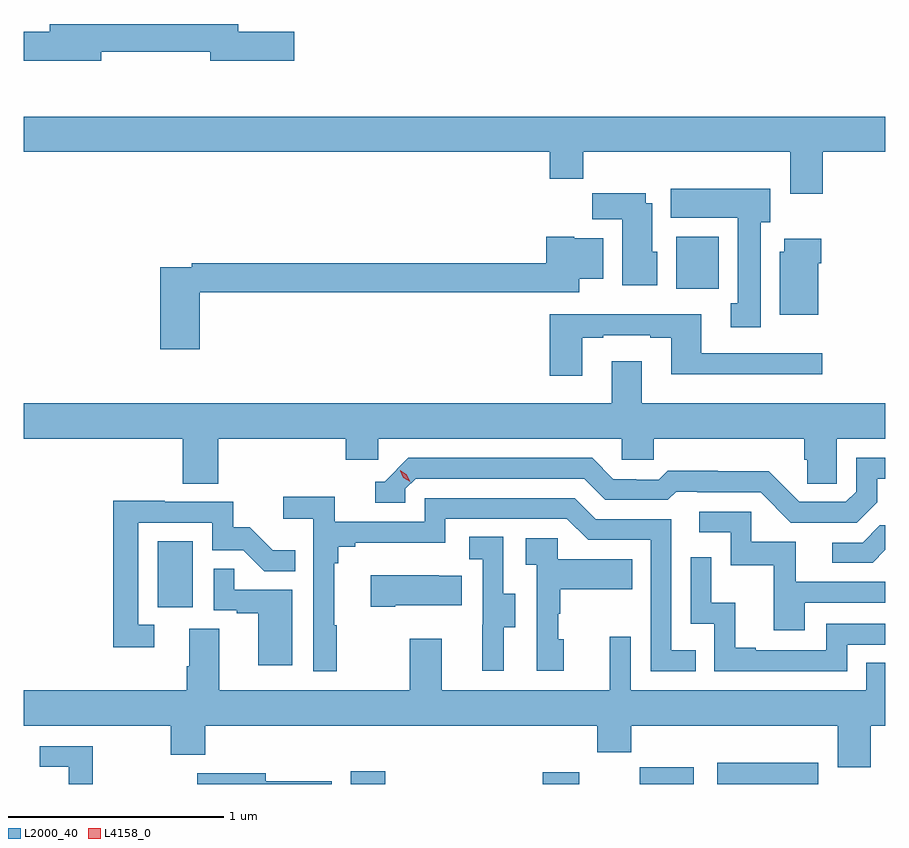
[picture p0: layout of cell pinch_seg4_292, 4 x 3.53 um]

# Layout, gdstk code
import gdstk
lib = gdstk.Library(unit=1e-6, precision=1e-09)
def R(c, l, rs):  # rectangles x0, y0, x1, y1
    for r in rs: c.add(gdstk.rectangle(r[:2], r[2:], *l))
def P(c, l, *ps):  # polygons
    for p in ps: c.add(gdstk.Polygon(p, *l))
L2000_40 = (2000, 40)
L4158_0 = (4158, 0)

pinch_seg4_292 = lib.new_cell('pinch_seg4_292')
R(pinch_seg4_292, L2000_40, [(925.457,797.881,925.618,797.941), (926.348,797.881,926.518,797.935), (926.8,797.881,927.049,797.959), (927.159,797.881,927.628,797.98), (924.56,798.702,924.724,799.009), (926.969,800.18,927.166,800.422)])
P(pinch_seg4_292, L2000_40, [(924.298,801.282),(924.806,801.282),(924.806,801.239),(925.195,801.239),(925.195,801.374),(924.934,801.374),(924.934,801.41),(924.059,801.41),(924.059,801.374),(923.939,801.374),(923.939,801.239),(924.298,801.239)],
  [(927.65,800.816),(927.939,800.816),(927.939,800.98),(923.939,800.98),(923.939,800.816),(926.381,800.816),(926.381,800.692),(926.537,800.692),(926.537,800.816),(927.497,800.816),(927.497,800.622),(927.65,800.622)],
  [(927.361,800.49),(927.406,800.49),(927.406,800.644),(926.942,800.644),(926.942,800.51),(927.254,800.51),(927.254,800.114),(927.221,800.114),(927.221,800.001),(927.361,800.001)],
  [(926.881,800.352),(926.857,800.352),(926.857,800.578),(926.827,800.578),(926.827,800.623),(926.578,800.623),(926.578,800.504),(926.717,800.504),(926.717,800.198),(926.881,800.198)],
  [(924.755,800.164),(926.518,800.164),(926.518,800.228),(926.629,800.228),(926.629,800.416),(926.496,800.416),(926.496,800.422),(926.366,800.422),(926.366,800.3),(924.718,800.3),(924.718,800.28),(924.572,800.28),(924.572,799.899),(924.755,799.899)],
  [(927.628,800.3),(927.641,800.3),(927.641,800.413),(927.47,800.413),(927.47,800.352),(927.449,800.352),(927.449,800.06),(927.628,800.06)],
  [(926.533,799.953),(926.629,799.953),(926.629,799.965),(926.849,799.965),(926.849,799.953),(926.945,799.953),(926.945,799.784),(927.646,799.784),(927.646,799.881),(927.085,799.881),(927.085,800.062),(926.381,800.062),(926.381,799.776),(926.533,799.776)],
  [(926.809,799.843),(926.669,799.843),(926.669,799.648),(923.939,799.648),(923.939,799.484),(924.677,799.484),(924.677,799.276),(924.842,799.276),(924.842,799.484),(925.433,799.484),(925.433,799.386),(925.584,799.386),(925.584,799.484),(926.715,799.484),(926.715,799.386),(926.865,799.386),(926.865,799.484),(927.563,799.484),(927.563,799.386),(927.577,799.386),(927.577,799.276),(927.714,799.276),(927.714,799.484),(927.939,799.484),(927.939,799.648),(926.809,799.648)],
  [(927.901,799.189),(927.901,799.299),(927.939,799.299),(927.939,799.395),(927.804,799.395),(927.804,799.239),(927.756,799.191),(927.54,799.191),(927.398,799.333),(927.162,799.333),(927.162,799.336),(926.929,799.336),(926.887,799.293),(926.784,799.293),(926.784,799.296),(926.677,799.296),(926.578,799.395),(925.725,799.395),(925.614,799.284),(925.571,799.284),(925.571,799.188),(925.71,799.188),(925.71,799.251),(925.758,799.299),(926.541,799.299),(926.64,799.2),(926.929,799.2),(926.968,799.239),(927.067,799.239),(927.067,799.236),(927.36,799.236),(927.501,799.095),(927.807,799.095)],
  [(925.393,798.617),(925.381,798.617),(925.381,798.905),(925.4,798.905),(925.4,798.982),(925.477,798.982),(925.477,799.001),(925.896,799.001),(925.896,799.113),(926.46,799.113),(926.559,799.014),(926.85,799.014),(926.85,798.405),(927.059,798.405),(927.059,798.501),(926.946,798.501),(926.946,799.11),(926.596,799.11),(926.497,799.209),(925.8,799.209),(925.8,799.098),(925.382,799.098),(925.382,799.214),(925.143,799.214),(925.143,799.112),(925.284,799.112),(925.284,798.405),(925.393,798.405)],
  [(924.544,798.621),(924.471,798.621),(924.471,799.095),(924.813,799.095),(924.813,798.966),(924.957,798.966),(925.055,798.868),(925.199,798.868),(925.199,798.967),(925.095,798.967),(924.988,799.074),(924.912,799.074),(924.912,799.191),(924.593,799.191),(924.593,799.196),(924.355,799.196),(924.355,798.516),(924.544,798.516)],
  [(927.565,798.723),(927.939,798.723),(927.939,798.819),(927.523,798.819),(927.523,799.005),(927.318,799.005),(927.318,799.146),(927.075,799.146),(927.075,799.05),(927.222,799.05),(927.222,798.897),(927.421,798.897),(927.421,798.594),(927.565,798.594)],
  [(927.939,798.968),(927.939,799.082),(927.914,799.082),(927.834,799.002),(927.693,799.002),(927.693,798.909),(927.88,798.909)],
  [(926.167,798.61),(926.221,798.61),(926.221,798.765),(926.166,798.765),(926.166,799.028),(926.007,799.028),(926.007,798.925),(926.07,798.925),(926.07,798.621),(926.069,798.621),(926.069,798.408),(926.167,798.408)],
  [(926.446,798.552),(926.421,798.552),(926.421,798.671),(926.431,798.671),(926.431,798.785),(926.765,798.785),(926.765,798.925),(926.418,798.925),(926.418,799.023),(926.271,799.023),(926.271,798.899),(926.322,798.899),(926.322,798.408),(926.446,798.408)],
  [(927.762,798.528),(927.939,798.528),(927.939,798.624),(927.666,798.624),(927.666,798.501),(927.337,798.501),(927.337,798.514),(927.242,798.514),(927.242,798.722),(927.132,798.722),(927.132,798.934),(927.036,798.934),(927.036,798.624),(927.144,798.624),(927.144,798.405),(927.762,798.405)],
  [(925.186,798.783),(924.917,798.783),(924.917,798.881),(924.822,798.881),(924.822,798.687),(924.929,798.687),(924.929,798.675),(925.028,798.675),(925.028,798.432),(925.186,798.432)],
  [(925.663,798.71),(925.973,798.71),(925.973,798.847),(925.865,798.847),(925.865,798.85),(925.551,798.85),(925.551,798.703),(925.663,798.703)],
  [(924.707,798.428),(924.695,798.428),(924.695,798.316),(923.939,798.316),(923.939,798.152),(924.622,798.152),(924.622,798.017),(924.782,798.017),(924.782,798.152),(926.603,798.152),(926.603,798.028),(926.759,798.028),(926.759,798.152),(927.719,798.152),(927.719,797.958),(927.872,797.958),(927.872,798.152),(927.939,798.152),(927.939,798.443),(927.852,798.443),(927.852,798.316),(926.757,798.316),(926.757,798.565),(926.66,798.565),(926.66,798.316),(925.879,798.316),(925.879,798.556),(925.732,798.556),(925.732,798.316),(924.847,798.316),(924.847,798.602),(924.707,798.602)],
  [(924.259,798.057),(924.013,798.057),(924.013,797.96),(924.148,797.96),(924.148,797.881),(924.259,797.881)],
  [(925.368,797.894),(925.063,797.894),(925.063,797.932),(924.745,797.932),(924.745,797.881),(925.368,797.881)])
P(pinch_seg4_292, L4158_0, [(925.733,799.284),(925.702,799.304),(925.686,799.336),(925.686,799.337),(925.686,799.337),(925.717,799.317),(925.734,799.284),(925.734,799.284)])

lib.write_gds('pinch_seg4_292.gds')
